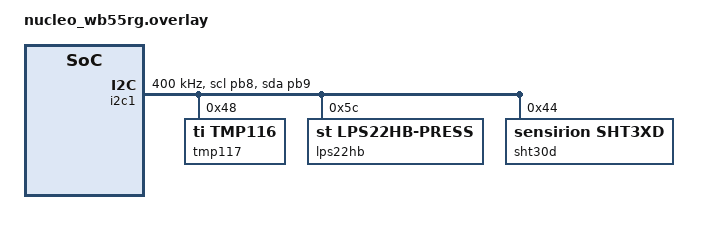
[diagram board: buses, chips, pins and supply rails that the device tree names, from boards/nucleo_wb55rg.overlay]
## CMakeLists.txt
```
#-------------------------------------------------------------------------------
# Ambient Sensor BLE Application
#
# Copyright (c) 2023 Aaron Chan
# SPDX-License-Identifier: Apache-2.0

cmake_minimum_required(VERSION 3.13.1)
find_package(Zephyr REQUIRED HINTS $ENV{ZEPHYR_BASE})

project(app LANGUAGES C)

FILE(GLOB sources src/*.c)
target_sources(app PRIVATE ${sources})
```

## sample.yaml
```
sample:
  description: BLE Sensor Telemetry App
  name: BLE-AmbiSens 
common:
  build_only: true
  integration_platforms:
    - nucleo_wb55rg
tests:
  app.default: {}
  app.debug:
    extra_overlay_confs:
      - debug.conf
```

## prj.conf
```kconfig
CONFIG_CLOCK_CONTROL=y
CONFIG_PINCTRL=y
CONFIG_SOC_SERIES_STM32WBX=y
CONFIG_ARM_MPU=y
CONFIG_HW_STACK_PROTECTION=y

CONFIG_CONSOLE=y
CONFIG_UART_CONSOLE=y

CONFIG_I2C=y
CONFIG_I2C_SHELL=y

CONFIG_LED=y
CONFIG_GPIO=y

CONFIG_SERIAL=y

CONFIG_BT=y
CONFIG_BT_PERIPHERAL=y
CONFIG_BT_GATT_CLIENT=y
CONFIG_BT_DEVICE_NAME="AmbiSens"
CONFIG_SHELL=y
CONFIG_BT_SHELL=y


CONFIG_SENSOR=y
CONFIG_SENSOR_SHELL=y
CONFIG_SENSOR_INFO=y
CONFIG_TMP116=y
CONFIG_BMP388=y
CONFIG_LPS22HB=y
CONFIG_SHT3XD=y
```

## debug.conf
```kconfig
# Copyright (c) 2023 Aaron Chan
# SPDX-License-Identifier: Apache-2.0
#
# This is a Kconfig fragment which can be used to enable debug-related options
# in the application. See the README for more details.

# compiler
CONFIG_DEBUG_OPTIMIZATIONS=y

# console
CONFIG_CONSOLE=y

# UART console
CONFIG_SERIAL=y
CONFIG_UART_CONSOLE=y

# logging
CONFIG_LOG=y
CONFIG_APP_LOG_LEVEL_DBG=y
```

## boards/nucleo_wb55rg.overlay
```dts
/*
 * Copyright (c) 2023 Aaron Chan
 * SPDX-License-Identifier: Apache-2.0
 */

&i2c1 {
    pinctrl-0 = <&i2c1_scl_pb8 &i2c1_sda_pb9>;
    pinctrl-names = "default";
  	status = "okay";
	clock-frequency = <I2C_BITRATE_FAST>;

/*
    bmp388: bmp388@77 {
    	compatible = "bosch,bmp388";
	    reg = <0x77>;
  	    status = "okay";
    };
*/
    tmp117: tmp117@48 {
    	compatible = "ti,tmp116";
	    reg = <0x48>;
  	    status = "okay";
   		
        #address-cells = <1>;
    	#size-cells = <0>;
	    eeprom: ti_tmp116_eeprom@0 {
		    compatible = "ti,tmp116-eeprom";
   			reg = <0x0>;
   			read-only;
   		};
    };

    lps22hb: lps22hb@5c {
    	compatible = "st,lps22hb-press";
	    reg = <0x5c>;
  	    status = "okay";
    };

    sht30d: sht30d@44 {
        compatible = "sensirion,sht3xd";
        reg = <0x44>;
      	status = "okay";

    };

};
```

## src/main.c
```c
/*
 * Copyright (c) 2015-2016 Intel Corporation
 * Copyright (c) 2019 Marcio Montenegro <mtuxpe@gmail.com>
 * Copyright (c) 2023 Aaron Chan
 *
 * SPDX-License-Identifier: Apache-2.0
 */

#include <zephyr/types.h>
#include <stddef.h>
#include <string.h>
#include <errno.h>
#include <zephyr/sys/printk.h>
#include <zephyr/sys/byteorder.h>
#include <zephyr/kernel.h>
#include <zephyr/drivers/gpio.h>
#include <zephyr/logging/log.h>

#include <zephyr/bluetooth/bluetooth.h>
#include <zephyr/bluetooth/hci.h>
#include <zephyr/bluetooth/conn.h>
#include <zephyr/bluetooth/uuid.h>
#include <zephyr/bluetooth/gatt.h>

#include "bt_svc.h"
#include "button_svc.h"
#include "led_svc.h"
#include "sensor_svc.h"

LOG_MODULE_REGISTER(main);

int main(void) {
    int err = button_init(NULL);
    if (err) return err;

	err = led_init();
    if (err) return err;

    err = bt_init();
    if (err) return err;

    return sensor_init();

}
```

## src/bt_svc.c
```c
/*
 * Copyright (c) 2015-2016 Intel Corporation
 * Copyright (c) 2019 Marcio Montenegro <mtuxpe@gmail.com>
 * Copyright (c) 2023 Aaron Chan
 *
 * SPDX-License-Identifier: Apache-2.0
 */
#include <zephyr/logging/log.h>


#include "bt_svc.h"
#include "led_svc.h"
#include "sensor_svc.h"
#include "zephyr/bluetooth/gatt.h"


#define DEVICE_NAME CONFIG_BT_DEVICE_NAME
#define DEVICE_NAME_LEN (sizeof(DEVICE_NAME) - 1)
#define ADV_LEN 12

LOG_MODULE_REGISTER(bt_svc);

struct bt_conn *ble_conn;
volatile bool notify_enable;

extern uint16_t but_val; 
extern SENSOR_DATA_T readings;


BT_CONN_CB_DEFINE(conn_callbacks) = {
	.connected = connected,
	.disconnected = disconnected,
};

/* ST Custom Service  */
struct bt_uuid_128 st_service_uuid = BT_UUID_INIT_128(
	BT_UUID_128_ENCODE(0x0000fe40, 0xcc7a, 0x482a, 0x984a, 0x7f2ed5b3e58f)
);

/* ST LED service */
struct bt_uuid_128 led_char_uuid = BT_UUID_INIT_128(
	BT_UUID_128_ENCODE(0x0000fe41, 0x8e22, 0x4541, 0x9d4c, 0x21edae82ed19)
);

/* ST Notify button service */
struct bt_uuid_128 but_notif_uuid = BT_UUID_INIT_128(
	BT_UUID_128_ENCODE(0x0000fe42, 0x8e22, 0x4541, 0x9d4c, 0x21edae82ed19)
);

/* Sensor Data Characteristic */
struct bt_uuid_128 sensor_data_uuid = BT_UUID_INIT_128(
    BT_UUID_128_ENCODE(0x0000feed, 0xfeed, 0xdead, 0xbeef, 0x000000000001)
);

/* Advertising data */
uint8_t manuf_data[ADV_LEN] = {
	0x01 /*SKD version */,
	0x83 /* STM32WB - P2P Server 1 */,
	0x00 /* GROUP A Feature  */,
	0x00 /* GROUP A Feature */,
	0x00 /* GROUP B Feature */,
	0x00 /* GROUP B Feature */,
	0x00, /* BLE MAC start -MSB */
	0x00,
	0x00,
	0x00,
	0x00,
	0x00, /* BLE MAC stop */
};

const struct bt_data ad[] = {
	BT_DATA_BYTES(BT_DATA_FLAGS, (BT_LE_AD_GENERAL | BT_LE_AD_NO_BREDR)),
	BT_DATA(BT_DATA_NAME_COMPLETE, DEVICE_NAME, DEVICE_NAME_LEN),
	BT_DATA(BT_DATA_MANUFACTURER_DATA, manuf_data, ADV_LEN)
};


BT_GATT_SERVICE_DEFINE(stsensor_svc, 
                    BT_GATT_PRIMARY_SERVICE(&st_service_uuid),

                    BT_GATT_CHARACTERISTIC(&led_char_uuid.uuid, 
                                           BT_GATT_CHRC_READ | BT_GATT_CHRC_WRITE_WITHOUT_RESP, 
                                           BT_GATT_PERM_WRITE, NULL, recv, (void *)1),

                    BT_GATT_CHARACTERISTIC(&but_notif_uuid.uuid, BT_GATT_CHRC_NOTIFY, 
                                           BT_GATT_PERM_READ, NULL, NULL, &but_val),
            
                    BT_GATT_CHARACTERISTIC(&sensor_data_uuid.uuid,
                                           BT_GATT_CHRC_READ | BT_GATT_CHRC_NOTIFY,
                                           BT_GATT_PERM_READ, NULL, NULL, &readings),

                    BT_GATT_CCC(mpu_ccc_cfg_changed, BT_GATT_PERM_READ | BT_GATT_PERM_WRITE),
);



void connected(struct bt_conn *connected, uint8_t err) {
	if (err) {
		LOG_ERR("Connection failed (err %u)", err);
	} else {
		LOG_INF("Connected");
		if (!ble_conn) {
			ble_conn = bt_conn_ref(connected);
		}
	}
}

void disconnected(struct bt_conn *disconn, uint8_t reason) {
	if (ble_conn) {
		bt_conn_unref(ble_conn);
		ble_conn = NULL;
	}

	LOG_INF("Disconnected (reason %u)", reason);
}

ssize_t recv(struct bt_conn *conn, const struct bt_gatt_attr *attr, const void *buff, uint16_t len, uint16_t offset, uint8_t flags) {
	led_update();
	return 0;
}

void mpu_ccc_cfg_changed(const struct bt_gatt_attr *attr, uint16_t value) {
	ARG_UNUSED(attr);
	notify_enable = (value == BT_GATT_CCC_NOTIFY);
	LOG_INF("Notification %s", notify_enable ? "enabled" : "disabled");
}

void sensor_ccc_cfg_changed(const struct bt_gatt_attr *attr, uint16_t value) {
	ARG_UNUSED(attr);
	notify_enable = (value == BT_GATT_CCC_NOTIFY);
	LOG_INF("Notification %s", notify_enable ? "enabled" : "disabled");
}

void bt_ready(int err) {
	if (err) {
		LOG_ERR("Bluetooth init failed (err %d)", err);
		return;
	}
	
    LOG_INF("Bluetooth initialized");
	
    /* Start advertising */
    err = bt_le_adv_start(BT_LE_ADV_CONN, ad, ARRAY_SIZE(ad), NULL, 0);
	if (err) {
		LOG_ERR("Advertising failed to start (err %d)", err);
		return;
	}

	LOG_INF("Configuration mode: waiting connections...");
}

int bt_init() {
	int err = bt_enable(bt_ready);

	if (err) LOG_ERR("Bluetooth init failed (err %d)", err);

    return err;
}

int bt_handle_button_cb(uint16_t *but_val) {
    return bt_gatt_notify(NULL, &stsensor_svc.attrs[4], but_val, sizeof(but_val));
}

int notify_sensor_data() {
    return bt_gatt_notify(NULL, &stsensor_svc.attrs[3], &readings, sizeof(SENSOR_DATA_T));
}
```

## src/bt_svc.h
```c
/*
 * Copyright (c) 2023 Aaron Chan
 *
 * SPDX-License-Identifier: Apache-2.0
 */

#ifndef ST_BLE_SENSOR_BT_SVC_H_
#define ST_BLE_SENSOR_BT_SVC_H_

#include <zephyr/bluetooth/bluetooth.h>
#include <zephyr/bluetooth/hci.h>
#include <zephyr/bluetooth/conn.h>
#include <zephyr/bluetooth/uuid.h>
#include <zephyr/bluetooth/gatt.h>

#ifdef __cplusplus
extern "C" {
#endif

void connected(struct bt_conn *connected, uint8_t err);

void disconnected(struct bt_conn *disconn, uint8_t reason);

ssize_t recv(struct bt_conn *conn, const struct bt_gatt_attr *attr, const void *buff, uint16_t len, uint16_t offset, uint8_t flags);

void mpu_ccc_cfg_changed(const struct bt_gatt_attr *attr, uint16_t value);

void sensor_ccc_cfg_changed(const struct bt_gatt_attr *attr, uint16_t value);

void bt_ready(int err);

int bt_init();

int bt_handle_button_cb(uint16_t *but_val);

int notify_sensor_data();
#ifdef __cplusplus
}
#endif

#endif
```

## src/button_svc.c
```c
/** @file
 *  @brief Button Service sample
 */

/*
 * Copyright (c) 2019 Marcio Montenegro <mtuxpe@gmail.com>
 *
 * SPDX-License-Identifier: Apache-2.0
 */

#include "button_svc.h"
#include "bt_svc.h"

#include <zephyr/kernel.h>
#include <zephyr/logging/log.h>

LOG_MODULE_REGISTER(button_svc);

static const struct gpio_dt_spec button = GPIO_DT_SPEC_GET(DT_ALIAS(sw0), gpios);
static struct gpio_callback gpio_cb;
uint16_t but_val;

extern struct bt_conn *ble_conn;
extern volatile bool notify_enable;
extern struct bt_gatt_attr stsensor_svc; 

static void default_button_callback(const struct device *gpiob, struct gpio_callback *cb, uint32_t pins) {
	int err;

	LOG_INF("Button pressed");
	if (ble_conn) {
		if (notify_enable) {
            err = bt_handle_button_cb(&but_val);

            if (err) {
				LOG_ERR("Notify error: %d", err);
			} else {
				LOG_INF("Send notify ok");
				but_val = (but_val == 0) ? 0x100 : 0;
			}

		} else {
			LOG_INF("Notify not enabled");
		}

	} else {
		LOG_INF("BLE not connected");
	}
}


int button_init(gpio_callback_handler_t handler) {
	int ret;

	if (!gpio_is_ready_dt(&button)) {
		LOG_ERR("Error: button GPIO device %s is not ready",
			button.port->name);
		return -ENODEV;
	}

	ret = gpio_pin_configure_dt(&button, GPIO_INPUT);
	if (ret) {
		LOG_ERR("Error %d: can't configure button on GPIO %s pin %d",
			ret, button.port->name, button.pin);
		return ret;

	}

    handler = default_button_callback;

	gpio_init_callback(&gpio_cb, handler, BIT(button.pin));
	gpio_add_callback(button.port, &gpio_cb);
	ret = gpio_pin_interrupt_configure_dt(&button, GPIO_INT_EDGE_TO_ACTIVE);
	if (ret) {
		LOG_ERR("Error %d: can't configure button interrupt on "
			"GPIO %s pin %d", ret, button.port->name, button.pin);
		return ret;
	}
	return 0;
}
```

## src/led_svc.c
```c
/*
 * Copyright (c) 2019 Marcio Montenegro <mtuxpe@gmail.com>
 *
 * SPDX-License-Identifier: Apache-2.0
 */

#include "led_svc.h"

#include <zephyr/kernel.h>
#include <zephyr/drivers/gpio.h>
#include <zephyr/logging/log.h>

LOG_MODULE_REGISTER(led_svc);

static const struct gpio_dt_spec led = GPIO_DT_SPEC_GET(DT_ALIAS(led0), gpios);
static bool led_state;
static bool led_ok;

void led_update(void) {
	if (!led_ok) return;
	led_state = !led_state;
	LOG_INF("LED: %s", led_state ? "on" : "off");
	gpio_pin_set(led.port, led.pin, led_state);
}

int led_init(void) {
	int ret;

	led_ok = gpio_is_ready_dt(&led);
	if (!led_ok) {
		LOG_ERR("Error: LED on GPIO %s pin %d is not ready",
			led.port->name, led.pin);
		return -ENODEV;
	}

	ret = gpio_pin_configure_dt(&led, GPIO_OUTPUT_INACTIVE);
	if (ret < 0) {
		LOG_ERR("Error %d: failed to configure GPIO %s pin %d",
			ret, led.port->name, led.pin);
	}

	return ret;
}
```

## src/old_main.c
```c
// /*
//  * Copyright (c) 2023 Aaron Chan
//  * SPDX-License-Identifier: Apache-2.0
//  */
//
// #include "zephyr/device.h"
// #include <zephyr/kernel.h>
// #include <zephyr/drivers/sensor.h>
// #include <app_version.h>
//
// #include <zephyr/bluetooth/bluetooth.h>
// #include <zephyr/bluetooth/hci.h>
//
// #include <zephyr/drivers/gpio.h>
// #include <zephyr/drivers/led.h>
//
// #include <zephyr/logging/log.h>
//
// LOG_MODULE_REGISTER(main, CONFIG_APP_LOG_LEVEL);
//
// static void sensor_task(void *unused0, void *unused1, void *unused2) {
//     int ret;
// 	const struct device *sensor;
//
// 	// sensor = DEVICE_DT_GET(DT_NODELABEL(examplesensor0));
// 	// if (!device_is_ready(sensor)) {
// 	// 	LOG_ERR("Sensor not ready");
// 	// 	return 0;
// 	// }
// 	//
// 	// while (1) {
// 	// 	struct sensor_value val;
// 	//
// 	// 	ret = sensor_sample_fetch(sensor);
// 	// 	if (ret < 0) {
// 	// 		LOG_ERR("Could not fetch sample (%d)", ret);
// 	// 		return 0;
// 	// 	}
// 	//
// 	// 	ret = sensor_channel_get(sensor, SENSOR_CHAN_PROX, &val);
// 	// 	if (ret < 0) {
// 	// 		LOG_ERR("Could not get sample (%d)", ret);
// 	// 		return 0;
// 	// 	}
// 	//
// 	// 	printk("Sensor value: %d\n", val.val1);
// 	//
// 	// 	k_sleep(K_MSEC(1000));
// 	// }
// }
//
//
// int main(void) {
//     static const struct gpio_dt_spec led = GPIO_DT_SPEC_GET(DT_ALIAS(led0), gpios);
//
//     uint8_t adv_data[] = {0xff, 0xff, 0x00};
//
//     printk("Enabling Bluetooth\n");
// 	int ret = bt_enable(NULL);
// 	if (ret) {
// 		printk("Bluetooth init failed (err %d)\n", ret);
// 		return 0;
// 	}
//
// 	printk("Bluetooth initialized\n");
//
//
//     ret = gpio_pin_configure_dt(&led, GPIO_OUTPUT_ACTIVE);
// 	if (ret < 0) {
// 		return 0;
// 	}
//
// 	// while (1) {
// 	// 	ret = gpio_pin_toggle_dt(&led);
// 	// 	if (ret < 0) {
// 	// 		return 0;
// 	// 	}
// 	// 
//  //        ret = bt_le_adv_start(BT_LE_ADV_NCONN, adv_data, ARRAY_SIZE(adv_data), NULL, 0);
// 	// 	if (ret) {
// 	// 		printk("Advertising failed to start (err %d)\n", ret);
// 	// 	}
// 	//
// 	// 	k_msleep(1000);
// 	//
// 	// 	ret = bt_le_adv_stop();
// 	// 	if (ret) {
// 	// 		printk("Advertising failed to stop (err %d)\n", ret);
// 	// 	}
// 	//
//  //        k_msleep(1000);
// 	// }
//
// 	return 0;
// }
//
```

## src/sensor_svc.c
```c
#include "sensor_svc.h"
#include "zephyr/device.h"
#include "zephyr/drivers/sensor.h"
#include "zephyr/kernel.h"
#include "zephyr/kernel/thread_stack.h"
#include "zephyr/sys/arch_interface.h"

#define STACK_SIZE (512)
#define NUM_SENSORS 3
#define MOVE_CURSOR_STR(row, col) printf("\x1b[%d;%dH", row, col)

static K_THREAD_STACK_ARRAY_DEFINE(sensor_stacks, NUM_SENSORS, STACK_SIZE);
static struct k_thread sensor_threads[NUM_SENSORS] = {0};

static K_THREAD_STACK_DEFINE(print_stack, STACK_SIZE);
static struct k_thread print_thread = {0};

SENSOR_DATA_T readings = {0};



int check_dev(const struct device *device) {
    int ret = device_is_ready(device);

    if (ret) printk("Error %d: %s is not ready\n", ret, device->name);

    return ret;
}


static void update_sht30d_readings(void *unused0, void *unused1, void *unused2) {
    const struct device *device = DEVICE_DT_GET_ONE(sensirion_sht3xd);

    struct sensor_value temperature = {0};   
    struct sensor_value humidity = {0};

    int ret = device_is_ready(device);
    if (ret) printk("Error %d: %s is not ready\n", ret, device->name);
    
    while (1) {
        if (sensor_sample_fetch(device)) continue;
        
        sensor_channel_get(device, SENSOR_CHAN_AMBIENT_TEMP, &temperature);
        sensor_channel_get(device, SENSOR_CHAN_HUMIDITY, &humidity);

        readings.sht30d_temp = sensor_value_to_float(&temperature);
        readings.sht30d_hum  = sensor_value_to_float(&humidity);

        k_msleep(100);
    }
}

static void update_lps22hb_readings(void *unused0, void *unused1, void *unused2) {
    const struct device *device = DEVICE_DT_GET_ANY(st_lps22hv);

    struct sensor_value temperature = {0};   
    struct sensor_value pressure = {0};

    int ret = device_is_ready(device);
    if (ret) printk("Error %d: %s is not ready\n", ret, device->name);

    while (1) {
        // if (sensor_sample_fetch(device)) {
        //      printk("LPS22HB: Failed to get data");
        // }

        // sensor_channel_get(device, SENSOR_CHAN_AMBIENT_TEMP, &temperature);
        // sensor_channel_get(device, SENSOR_CHAN_PRESS, &pressure);
 

        k_msleep(100);
    }

} 


static void update_tmp117_readings(void *unused0, void *unused1, void *unused2) {
    const struct device *device = DEVICE_DT_GET_ANY(ti_tmp116);

    struct sensor_value temperature = {0};   

    int ret = device_is_ready(device);
    if (ret) printk("Error %d: %s is not ready\n", ret, device->name);

    while (1) {
        if (sensor_sample_fetch(device)) continue;
        
        sensor_channel_get(device, SENSOR_CHAN_AMBIENT_TEMP, &temperature);

        readings.tmp117_temp = sensor_value_to_float(&temperature);

        k_msleep(100);
    }
}

static void print_readings(void *unused, void *unused1, void *unused2) {
    while (1) {
        MOVE_CURSOR_STR(1, 1);
        printk("TMP117: %f C", readings.tmp117_temp);
        
        MOVE_CURSOR_STR(2, 1);
        printk("LPS22HB: %f C\t %f Pa", readings.lps22hb_temp, readings.lps22hb_press);
        
        MOVE_CURSOR_STR(3, 1);
        printk("SHT30D: %f C\t %f%%", readings.sht30d_temp, readings.sht30d_hum);

        printk("Notified: %d", notify_sensor_data(&readings));
        k_msleep(100);
    }
}


int sensor_init() {
    k_thread_entry_t sensor_tasks[] = {update_sht30d_readings, update_lps22hb_readings, update_tmp117_readings};
    for (int i = 0; i < NUM_SENSORS; i++) {
        k_thread_create(&sensor_threads[i], &sensor_stacks[i][0], STACK_SIZE, sensor_tasks[i], NULL, NULL, NULL, K_PRIO_PREEMPT(10), 0, K_NO_WAIT);
        k_thread_start(&sensor_threads[i]);
    }

    k_thread_create(&print_thread, &print_stack[0], STACK_SIZE, print_readings, NULL, NULL, NULL, K_PRIO_PREEMPT(10), 0, K_NO_WAIT);
    k_thread_start(&print_thread);

    return 0;
}
```

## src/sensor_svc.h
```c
/*
 * Copyright (c) 2023 Aaron Chan
 *
 * SPDX-License-Identifier: Apache-2.0
 */


#ifndef ST_BLE_SENSOR_SENSOR_SVC_H_
#define ST_BLE_SENSOR_SENSOR_SVC_H_


#include "zephyr/device.h"
#ifdef __cplusplus
extern "C" {
#endif

typedef struct __attribute__((__packed__)) {
    float lps22hb_temp;
    float lps22hb_press;

    float tmp117_temp;

    float sht30d_temp;
    float sht30d_hum;
} SENSOR_DATA_T;

int sensor_init();

#ifdef __cplusplus
}
#endif

#endif
```
